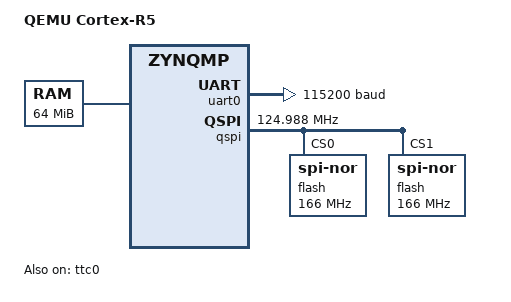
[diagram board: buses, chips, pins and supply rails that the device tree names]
/*
 * Copyright (c) 2019 Lexmark International, Inc.
 *
 * SPDX-License-Identifier: Apache-2.0
 *
 */

/dts-v1/;
#include <arm/xilinx/zynqmp_rpu.dtsi>

/ {
	model = "QEMU Cortex-R5";
	compatible = "xlnx,zynqmp-qemu";

	sram0: memory@4000000 {
		compatible = "mmio-sram";
		reg = <0x4000000 DT_SIZE_M(64)>;
	};

	chosen {
		zephyr,sram = &sram0;
		zephyr,flash = &flash0;
		zephyr,console = &uart0;
		zephyr,shell-uart = &uart0;
		zephyr,ocm = &ocm;
	};
};

&uart0 {
	status = "okay";
	current-speed = <115200>;
	clock-frequency = <99999901>;
};

&ttc0 {
	status = "okay";
	clock-frequency = <5000000>;
};

&qspi {
	status = "okay";
	clock-frequency = <124987511>;

	flash@0 {
		compatible = "jedec,spi-nor";
		#address-cells = <1>;
		#size-cells = <1>;
		reg = <0x0>;
		spi-max-frequency = <166000000>;
		jedec-id = [20 bb 20];
		sfdp-bfp = [e5 20 fb ff ff ff ff 1f 29 eb 27 6b 27 3b 27 bb
			    ff ff ff ff ff ff 27 bb ff ff 29 eb 0c 20 10 d8
			    00 00 00 00 35 8a 01 00 82 a3 03 da 6c c1 04 2e
			    7a 75 7a 75 fb bd d5 5c 08 0f 82 ff 81 bd 35 36];
		size = <0x20000000>;
	};

	flash@1 {
		compatible = "jedec,spi-nor";
		#address-cells = <1>;
		#size-cells = <1>;
		reg = <0x1>;
		spi-max-frequency = <166000000>;
		jedec-id = [20 bb 20];
		sfdp-bfp = [e5 20 fb ff ff ff ff 1f 29 eb 27 6b 27 3b 27 bb
			    ff ff ff ff ff ff 27 bb ff ff 29 eb 0c 20 10 d8
			    00 00 00 00 35 8a 01 00 82 a3 03 da 6c c1 04 2e
			    7a 75 7a 75 fb bd d5 5c 08 0f 82 ff 81 bd 35 36];
		size = <0x20000000>;
	};
};
